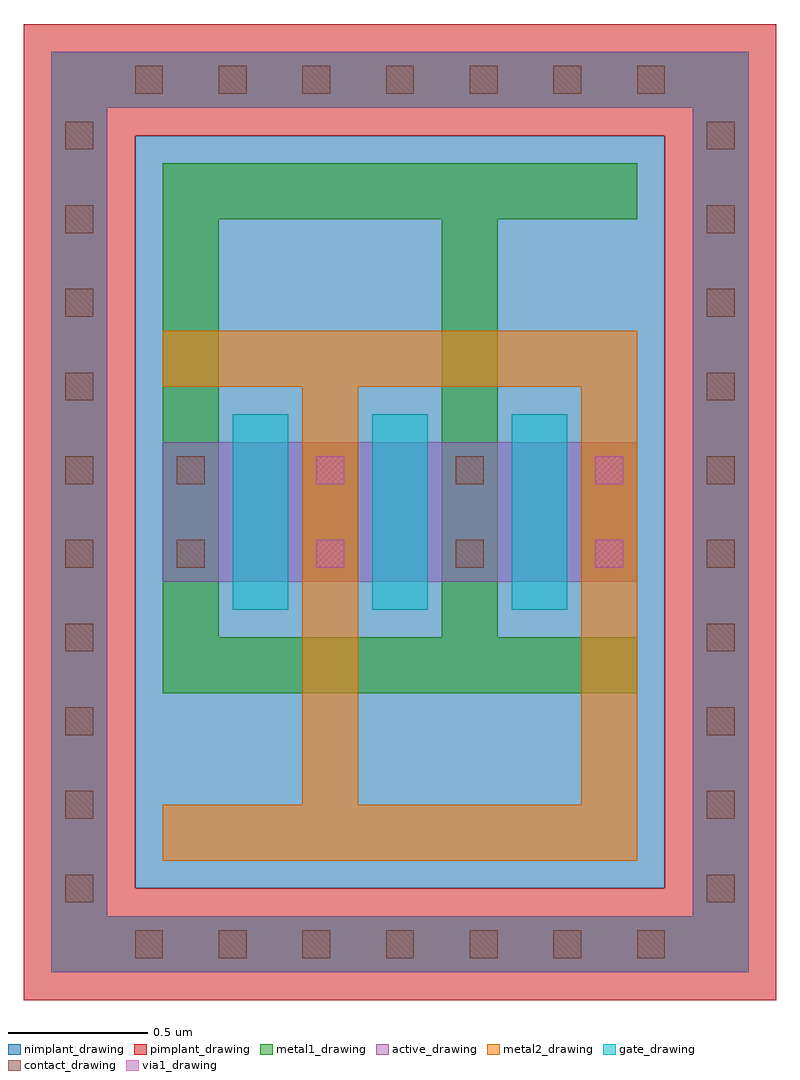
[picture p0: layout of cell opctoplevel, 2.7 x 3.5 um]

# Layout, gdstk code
import gdstk
lib = gdstk.Library(unit=1e-6, precision=1e-09)
def R(c, l, rs):  # rectangles x0, y0, x1, y1
    for r in rs: c.add(gdstk.rectangle(r[:2], r[2:], *l))
def A(c, l, x, y, w, h, nx, ny, dx, dy):  # array of equal rectangles
    R(c, l, [(x+i*dx, y+j*dy, x+i*dx+w, y+j*dy+h) for i in range(nx) for j in range(ny)])
active_drawing = (1, 0)
pimplant_drawing = (4, 0)
nimplant_drawing = (5, 0)
gate_drawing = (6, 0)
contact_drawing = (7, 0)
metal1_drawing = (8, 0)
via1_drawing = (9, 0)
metal2_drawing = (10, 0)

opctoplevel = lib.new_cell('opctoplevel')
R(opctoplevel, active_drawing, [(-0.65,-1.4,1.85,-1.2), (-0.65,-1.4,-0.45,1.9), (1.65,-1.4,1.85,1.9), (-0.25,0,1.45,0.5), (-0.65,1.7,1.85,1.9)])
R(opctoplevel, pimplant_drawing, [(-0.75,-1.5,1.95,-1.1), (-0.75,-1.5,-0.35,2), (1.55,-1.5,1.95,2), (-0.75,1.6,1.95,2)])
R(opctoplevel, nimplant_drawing, [(-0.35,-1.1,1.55,1.6)])
A(opctoplevel, gate_drawing, 0, -0.1, 0.2, 0.7, 3, 1, 0.5, 0)
A(opctoplevel, contact_drawing, -0.35, -1.35, 0.1, 0.1, 7, 2, 0.3, 3.1)
A(opctoplevel, contact_drawing, -0.6, -1.15, 0.1, 0.1, 1, 10, 0, 0.3)
A(opctoplevel, contact_drawing, 1.7, -1.15, 0.1, 0.1, 1, 10, 0, 0.3)
A(opctoplevel, contact_drawing, -0.2, 0.05, 0.1, 0.1, 4, 2, 0.5, 0.3)
A(opctoplevel, metal1_drawing, -0.25, 0, 0.2, 0.5, 4, 1, 0.5, 0)
R(opctoplevel, metal1_drawing, [(-0.65,-1.4,1.85,-1.2), (-0.65,-1.4,-0.45,1.9), (1.65,-1.4,1.85,1.9), (-0.25,-0.4,1.45,-0.2), (-0.25,-0.2,-0.05,0), (0.75,-0.2,0.95,0), (-0.25,0.5,-0.05,1.3), (0.75,0.5,0.95,1.3), (-0.25,1.3,1.45,1.5), (-0.65,1.7,1.85,1.9)])
R(opctoplevel, via1_drawing, [(0.3,0.05,0.4,0.15), (1.3,0.05,1.4,0.15), (0.3,0.35,0.4,0.45), (1.3,0.35,1.4,0.45)])
R(opctoplevel, metal2_drawing, [(-0.25,-1,1.45,-0.8), (0.25,-0.8,0.45,0), (1.25,-0.8,1.45,0), (0.25,0,0.45,0.5), (1.25,0,1.45,0.5), (0.25,0.5,0.45,0.7), (1.25,0.5,1.45,0.7), (-0.25,0.7,1.45,0.9)])

lib.write_gds('opctoplevel.gds')
